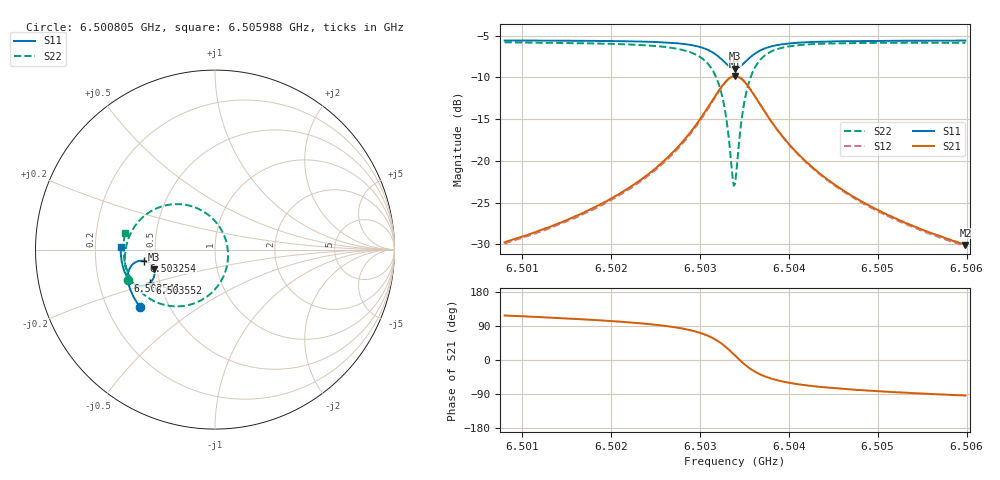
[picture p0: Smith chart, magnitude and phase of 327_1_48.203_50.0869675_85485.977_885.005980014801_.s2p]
#  HZ  S  RI  R  50.00
! Rohde & Schwarz Vector Network Analyzer
! Rohde-Schwarz,ZNB20-2Port,1311601062101988,3.16
! Created: UTC 3/20/2024, 11:50:43 AM
! freq[Hz]  re:S11  im:S11  re:S21  im:S21  re:S12  im:S12  re:S22  im:S22
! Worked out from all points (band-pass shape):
!   401 points, 6.500805 GHz to 6.505988 GHz, reference 50 ohm
!   highest |S21| = -9.85 dB at 6.503396 GHz (marker M1); lowest = -30.1 dB at 6.505988 GHz (marker M2)
!   |S21| within 3 dB of the highest: 6.503137 GHz to 6.503655 GHz (518.1 kHz wide, 0.00797 % of centre)
!   lowest |S11| = -8.9 dB at 6.503396 GHz (marker M3), VSWR 2.11, Z = 24.1 - j6.11 ohm
!   |S11| at or under -10 dB: nowhere
!   |S22| runs from -23.0 to -5.8 dB; largest |S21 - S12| = 0.011
!   S11 on the Smith chart (normalised r, x): 6.500805 GHz: 0.34, -0.30; 6.502541 GHz: 0.33, -0.15; 6.503254 GHz: 0.43, -0.06; 6.503552 GHz: 0.44, -0.20; 6.505988 GHz: 0.31, +0.01
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6.5008054e9  -0.4197 -0.3181  -0.015 0.0288  -0.0134 0.0291  -0.4856 -0.167
6.5016734e9  -0.4578 -0.2552  -0.0144 0.0461  -0.0122 0.0458  -0.501 -0.0773
6.5021528e9  -0.4753 -0.2136  -0.0118 0.0652  -0.00886 0.0641  -0.4993 -0.0111
6.5025414e9  -0.4852 -0.1716  -0.00326 0.0937  0.000404 0.0917  -0.4814 0.0638
6.5028005e9  -0.4848 -0.1349  0.0151 0.1279  0.0191 0.1243  -0.4425 0.1362
6.5029819e9  -0.4737 -0.1018  0.0494 0.1637  0.0527 0.1585  -0.3751 0.2021
6.5031503e9  -0.4396 -0.0688  0.126 0.1967  0.1273 0.1904  -0.2345 0.2525
6.503254e9  -0.3973 -0.0618  0.2102 0.188  0.2106 0.1828  -0.088 0.2251
6.5033058e9  -0.3723 -0.0704  0.2579 0.1605  0.2587 0.1558  -0.00897 0.1685
6.5033706e9  -0.3461 -0.0961  0.3048 0.0979  0.3072 0.0929  0.0615 0.0483
6.5033965e9  -0.3398 -0.1104  0.3147 0.0663  0.3177 0.0604  0.072 -0.0104
6.5034094e9  -0.338 -0.1181  0.3174 0.0499  0.3206 0.0436  0.0727 -0.0405
6.5034613e9  -0.3389 -0.1484  0.3119 -0.0145  0.3146 -0.0232  0.0447 -0.1549
6.5034872e9  -0.344 -0.162  0.3006 -0.0429  0.3024 -0.0527  0.0156 -0.2025
6.5035519e9  -0.3649 -0.1871  0.2587 -0.0959  0.2575 -0.1068  -0.0788 -0.2831
6.5036556e9  -0.4036 -0.2017  0.1858 -0.1313  0.1805 -0.1403  -0.2251 -0.3161
6.503824e9  -0.4489 -0.1918  0.106 -0.1284  0.0993 -0.1331  -0.3687 -0.2706
6.5040054e9  -0.4758 -0.1705  0.0626 -0.1089  0.0565 -0.1111  -0.4391 -0.2068
6.5042645e9  -0.4963 -0.1404  0.0333 -0.0854  0.0286 -0.0858  -0.4818 -0.1359
6.5046661e9  -0.5121 -0.0994  0.0142 -0.0624  0.0111 -0.0619  -0.504 -0.0596
6.5051325e9  -0.5211 -0.0568  0.00484 -0.0468  0.00271 -0.046  -0.5096 0.00426
6.5059875e9  -0.5257 0.0151  -0.00215 -0.0312  -0.00349 -0.0306  -0.5014 0.0927
